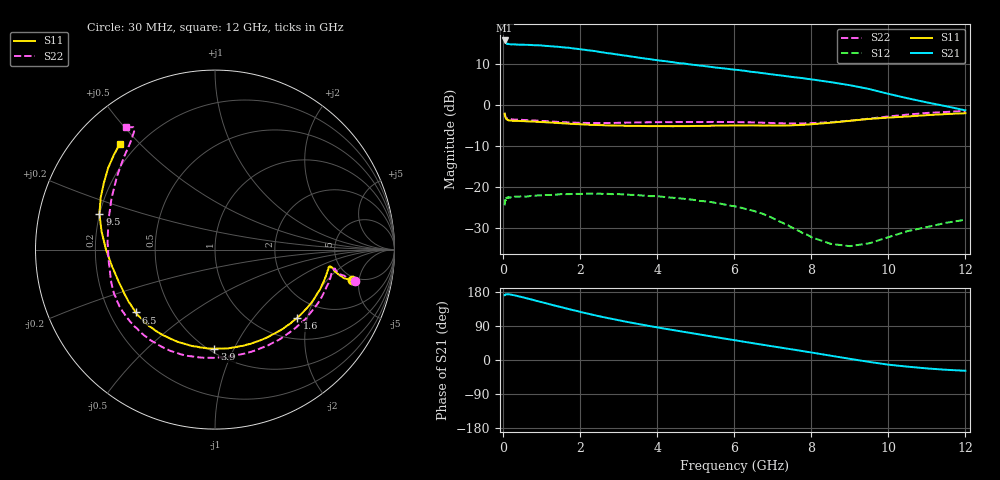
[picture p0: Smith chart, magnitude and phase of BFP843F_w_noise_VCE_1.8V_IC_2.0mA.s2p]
! Infineon Technologies  Discrete & RF Semiconductors
! BFP843F
! VCE =  1.8 V,  IC =  2.0 mA
! Common Emitter S-Parameters:  Aug 2013
# GHz  S  MA  R  50
!  f  S11  S21  S12  S22
! GHz  MAG  ANG  MAG  ANG  MAG  ANG  MAG  ANG
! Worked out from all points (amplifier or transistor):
!   103 points, 30 MHz to 12 GHz, reference 50 ohm
!   highest |S21| = 15.6 dB at 30 MHz (marker M1)
!   |S21| within 3 dB of that: start of sweep to 2.65 GHz
!   unconditionally stable (mu >= 1): 144.9 MHz to 696.4 MHz; 4.631 GHz to end of sweep
!   at 400 MHz: K = 1.01, MAG = 17.7 dB, |S12| = -22.3 dB
!   at 3.7 GHz: K = 0.92, MSG = 16.6 dB, |S12| = -22.0 dB
!   at 12 GHz: K = 1.74, MAG = 8.2 dB, |S12| = -27.9 dB
!   lowest NFmin = 1.09 dB at 450 MHz
!   S11 on the Smith chart (normalised r, x): 30 MHz: 4.52, -3.96; 1.6 GHz: 1.47, -1.73; 3.9 GHz: 0.53, -0.84; 6.5 GHz: 0.31, -0.32; 9.5 GHz: 0.20, +0.15; 12 GHz: 0.14, +0.44
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0.03  0.7798 -12.7  6.038 171.0  0.0603 38.1  0.8014 -12.7
0.04  0.7362 -12.5  5.841 171.0  0.067 29.2  0.7598 -12.3
0.05  0.7064 -11.5  5.7 172.8  0.0706 25.7  0.7326 -11.4
0.08  0.6707 -9.3  5.524 173.4  0.0739 16.0  0.6897 -10.1
0.15  0.6478 -8.3  5.45 173.4  0.0748 9.3  0.6718 -9.2
0.6  0.6315 -16.2  5.345 162.9  0.077 1.6  0.6532 -21.1
0.9  0.6202 -23.2  5.285 155.0  0.0798 -0.4  0.6417 -30.9
1.4  0.6021 -35.2  5.072 141.9  0.0817 -3.4  0.6215 -47.6
1.6  0.5954 -39.8  4.953 136.8  0.0824 -4.6  0.6166 -54.4
2.1  0.5777 -51.7  4.659 124.4  0.0835 -8.6  0.6037 -70.8
2.8  0.5615 -67.1  4.192 108.9  0.0826 -14.8  0.6032 -90.5
3.2  0.5558 -75.7  3.937 100.7  0.0817 -18.5  0.6079 -100.2
3.9  0.5524 -90.3  3.526 87.8  0.0781 -24.5  0.6166 -113.9
4.1  0.552 -94.4  3.427 84.3  0.077 -26.2  0.6168 -117.6
5.2  0.555 -117.1  2.962 65.6  0.0678 -35.9  0.6201 -136.3
6.1  0.5629 -134.3  2.645 50.7  0.0575 -43.9  0.6167 -151.1
6.5  0.5634 -141.6  2.498 44.0  0.0518 -47.5  0.6122 -157.6
7.7  0.5691 -164.9  2.127 24.7  0.0292 -48.3  0.5955 -178.2
8.5  0.6069 -179.9  1.886 11.4  0.0206 -28.3  0.6154 164.8
9.5  0.6747 162.7  1.556 -5.0  0.0209 6.7  0.6806 143.5
10.5  0.7223 149.0  1.201 -17.6  0.0294 24.2  0.7614 128.2
12  0.7914 132.2  0.857 -28.4  0.0404 31.8  0.8439 126.1
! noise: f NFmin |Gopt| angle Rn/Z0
0.45  1.09  0.34  11  0.15
0.9  1.1  0.34  19  0.16
1.5  1.21  0.33  27  0.17
1.9  1.28  0.31  40  0.17
2.4  1.33  0.31  50  0.18
3.5  1.43  0.32  76  0.23
5.5  1.57  0.28  126  0.33
10  2.71  0.48  -138  0.45
